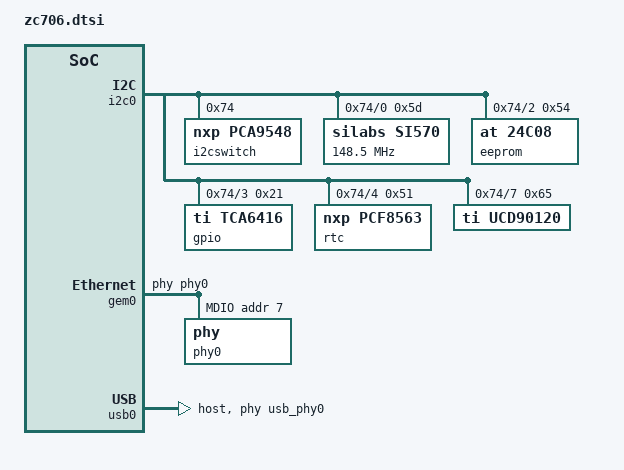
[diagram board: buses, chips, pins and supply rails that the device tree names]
&i2c0 {
          #address-cells = <1>;
          #size-cells = <0>;
          i2cswitch@74 {
                  compatible = "nxp,pca9548";
                  #address-cells = <1>;
                  #size-cells = <0>;
                  reg = <0x74>;

                  i2c@0 {
                          #address-cells = <1>;
                          #size-cells = <0>;
                          reg = <0>;
                          si570: clock-generator@5d {
                                  #clock-cells = <0>;
                                  compatible = "silabs,si570";
                                  temperature-stability = <50>;
                                  reg = <0x5d>;
                                  factory-fout = <156250000>;
                                  clock-frequency = <148500000>;
                          };
                  };

                  i2c@2 {
                          #address-cells = <1>;
                          #size-cells = <0>;
                          reg = <2>;
                          eeprom@54 {
                                  compatible = "at,24c08";
                                  reg = <0x54>;
                          };
                  };

                  i2c@3 {
                          #address-cells = <1>;
                          #size-cells = <0>;
                          reg = <3>;
                          gpio@21 {
                                  compatible = "ti,tca6416";
                                  reg = <0x21>;
                                  gpio-controller;
                                  #gpio-cells = <2>;
                          };
                  };

                  i2c@4 {
                          #address-cells = <1>;
                          #size-cells = <0>;
                          reg = <4>;
                          rtc@51 {
                                  compatible = "nxp,pcf8563";
                                  reg = <0x51>;
                          };
                  };


                  i2c@7 {
                          #address-cells = <1>;
                          #size-cells = <0>;
                          reg = <7>;
                          ucd90120@65 {
                                  compatible = "ti,ucd90120";
                                  reg = <0x65>;
                          };
                  };
          };
  };

&gem0 {
          phy-handle = <&phy0>;
          ps7_ethernet_0_mdio: mdio {
                  #address-cells = <1>;
                  #size-cells = <0>;
                  phy0: phy@7 {
                          device_type = "ethernet-phy";
                          reg = <7>;
                  };
          };
  };

  /{
          usb_phy0: usb_phy@0 {
                  compatible = "ulpi-phy";
                  #phy-cells = <0>;
                  reg = <0xe0002000 0x1000>;
                  view-port = <0x0170>;
                  drv-vbus;
          };
  };

  &usb0 {
          dr_mode = "host";
          usb-phy = <&usb_phy0>;
  };
